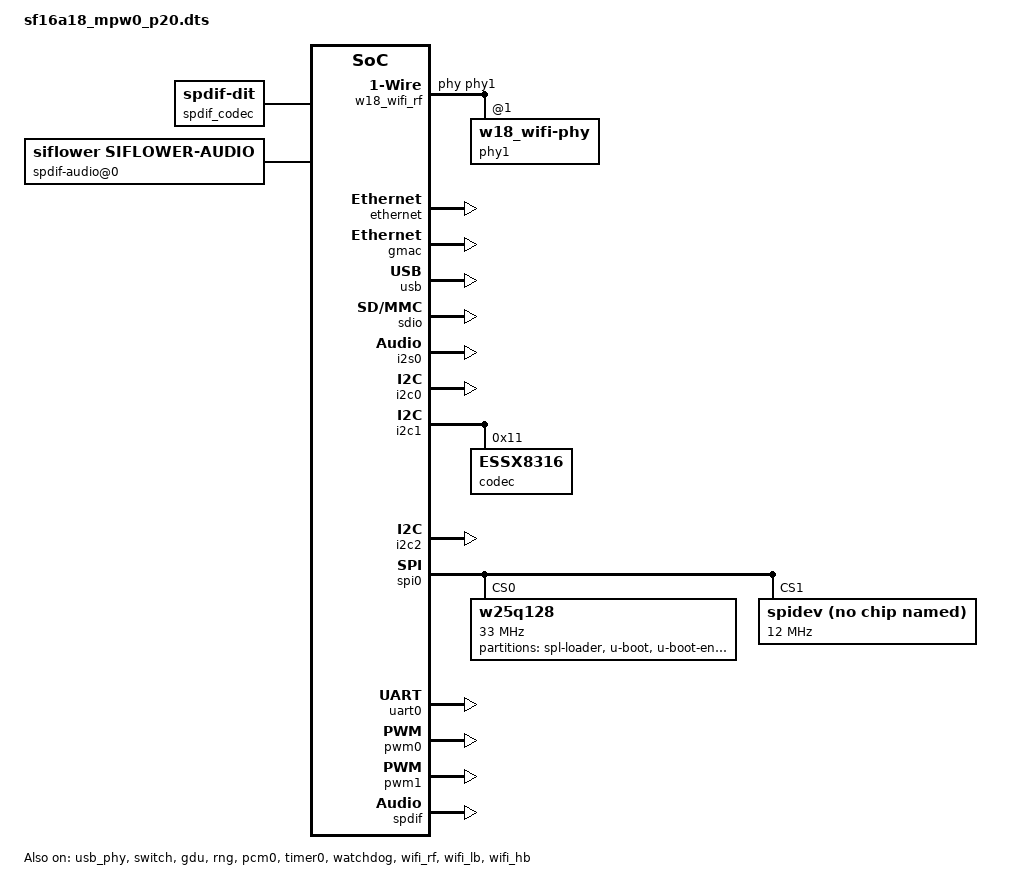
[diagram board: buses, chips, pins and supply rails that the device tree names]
/dts-v1/;

#include "sf16a18_mpw0.dtsi"
#include "sf16a18-thermal.dtsi"

/ {
	#address-cells = <1>;
	#size-cells = <1>;
	compatible = "siflower,sf16a18-soc";

	spdif_codec: spdif-codec@0 {
		compatible = "linux,spdif-dit";
	};

	w18_wifi_rf: w18_wifi-rf@7A00000{
		compatible = "siflower,pistachio-uccp";
		phy = <&phy1>;
		#address-cells = <1>;
		#size-cells = <0>;
		phy1: w18_wifi-phy@1 {
			reg = <1>;
			max-speed = <100>;
		};
	};

	spdif-audio@0 {
		compatible = "siflower,siflower-audio";
		model = "Siflower Spdif Audio";
		audio-controller = <&spdif>;
		audio-codec = <&spdif_codec>;
		audio-out;
	};

};

&usb_phy{
	status = "okay";
};

&ethernet {
	status = "okay";
};

&switch{
	status = "okay";
};

&gmac {
	status = "okay";
};

&gdu {
	status = "okay";
};

&rng {
	status = "okay";
};

&gdma {
	status = "okay";
};

&usb {
	status = "okay";
};

&emmc {
	status = "disabled";
};

&sdio {
	status = "okay";
};

&i2s0 {
	status = "okay";
};

&i2c0 {
	status = "okay";
	#address-cells = <1>;
	#size-cells = <0>;
	/include/	"sf16a18_pmu.dtsi"
};

&i2c1 {
	status = "okay";
	#address-cells = <1>;
	#size-cells = <0>;
/*
	codec: es8388s@11{
		compatible = "ambarella,es8388s";
		reg = <0x11>;
	};
*/
	codec: es8316@11{
		compatible = "ESSX8316";
		reg = <0x11>;
	};
};

&i2c2 {
	status = "okay";
};

&spi0 {
	status = "okay";
	//use-dma;
	dmas = <&gdma 10
	&gdma 11>;
	dma-names = "tx", "rx";

	#address-cells = <1>;
	#size-cells = <0>;

	w25q128@0 {
		compatible = "w25q128";
		reg = <0>;	/* chip select */
		spi-max-frequency = <33000000>;

		bank-width = <2>;
		device-width = <2>;
		#address-cells = <1>;
		#size-cells = <1>;

		partition@0 {
			label = "spl-loader";
			reg = <0x0 0x20000>; /* 128k */
			read-only;
		};

		partition@20000 {
			label = "u-boot";
			reg = <0x20000 0x60000>; /* 384k */
		};

		partition@80000 {
			label = "u-boot-env";
			reg = <0x80000 0x10000>; /* 64k */
		};

		factory:partition@90000 {
			label = "factory";
			reg = <0x90000 0x10000>; /* 64k */
		};

		partition@a0000 {
			label = "firmware";
			reg = <0xa0000 0xf60000>; /* 640k-16M */
		};
	};

	spidev: spi@8200000 {
		compatible = "rohm,dh2228fv";
		reg = <1>;
		clock = <50000000>;
		spi-cpha;
		spi-cpol;
		spi-max-frequency=<12000000>;
	};
};

&uart0 {
	status = "okay";
};

&uart1 {
	status = "disabled";
};

&uart2 {
	status = "disabled";
};

&uart3 {
	status = "disabled";
};

&pcm0 {
	status = "okay";
};

&pwm0 {
	status = "okay";
};

&pwm1 {
	status = "okay";
};

&timer0 {
	status = "okay";
};

&watchdog {
	status = "okay";
};

&spdif
{
	status = "okay";
};

&wifi_rf {
	status = "okay";
};

&wifi_lb {
	status = "okay";
};

&wifi_hb {
	status = "okay";
};
